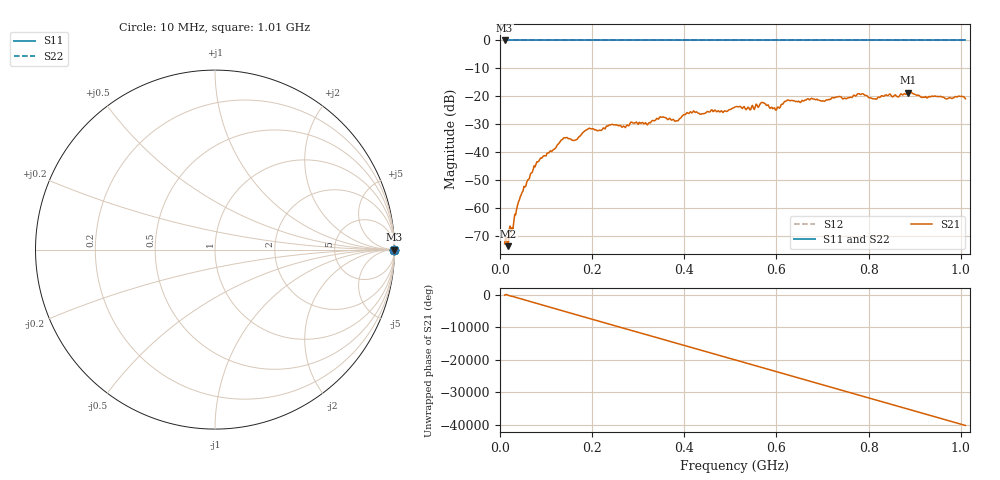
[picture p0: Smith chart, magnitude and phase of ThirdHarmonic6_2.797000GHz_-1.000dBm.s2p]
! 8/17/2025 7:16:07 AM
! C:\ANRITSUVNA\TEMP\TEMP.S2P
! CHANNEL.1
! TR.MEASUREMENT
! RAW.DATA
! RF.CORRECTION.OFF
! AVERAGING.OFF
! IF.BANDWIDTH: 5KHZ
! SWEEPTYPE:  FREQ.SWEEP(Linear)
! Reference Plane Port Info
! PORT:  PORT1  PORT2
! DISTANCE:  0  m  0  m
! TIME:  0  s  0  s
! PHASE.OFFSET:  0  deg.  0  deg.
! LOSS:  0  dB  0  dB
! REF.LOSS:  0  dB  0  dB
! REF.FREQ:  0  Hz  0  Hz
! Power Info
! POWER:  -20  dBm  -20  dBm
! EFF.POWER:  -20  dBm  -20  dBm
! SOURCE.ATTEN:  0  dB  0  dB
! TEST.ATTEN:  0  dB  0  dB
# GHZ S RI R 50.0
! FREQ.GHZ  S11RE  S11IM  S21RE  S21IM  S12RE  S12IM  S22RE  S22IM
!; PortSelection: Port_12
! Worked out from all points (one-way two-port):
!   501 points, 10 MHz to 1.01 GHz, reference 50 ohm
!   highest |S21| = -18.60 dB at 886 MHz (marker M1); lowest = -73.5 dB at 18 MHz (marker M2)
!   lowest |S11| = 0.0 dB at 10 MHz (marker M3)
!   |S11| at or under -10 dB: nowhere
!   |S22| runs from 0.0 to 0.0 dB; largest |S21 - S12| = 1.1
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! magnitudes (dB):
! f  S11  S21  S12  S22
! 10 MHz  0.0  -72.7  0.0  0.0
! 18 MHz  0.0  -73.5  0.0  0.0
! 48 MHz  0.0  -54.3  0.0  0.0
! 78 MHz  0.0  -44.2  0.0  0.0
! 136 MHz  0.0  -35.3  0.0  0.0
! 162 MHz  0.0  -35.7  0.0  0.0
! 178 MHz  0.0  -33.3  0.0  0.0
! 192 MHz  0.0  -31.5  0.0  0.0
! 322 MHz  0.0  -29.6  0.0  0.0
! 344 MHz  0.0  -28.1  0.0  0.0
! 382 MHz  0.0  -28.7  0.0  0.0
! 410 MHz  0.0  -26.1  0.0  0.0
! 510 MHz  0.0  -23.8  0.0  0.0
! 540 MHz  0.0  -24.0  0.0  0.0
! 570 MHz  0.0  -22.2  0.0  0.0
! 596 MHz  0.0  -24.1  0.0  0.0
! 622 MHz  0.0  -21.6  0.0  0.0
! 678 MHz  0.0  -20.8  0.0  0.0
! 814 MHz  0.0  -20.9  0.0  0.0
! 844 MHz  0.0  -19.4  0.0  0.0
! 886 MHz  0.0  -18.6  0.0  0.0
! 1.01 GHz  0.0  -20.8  0.0  0.0
